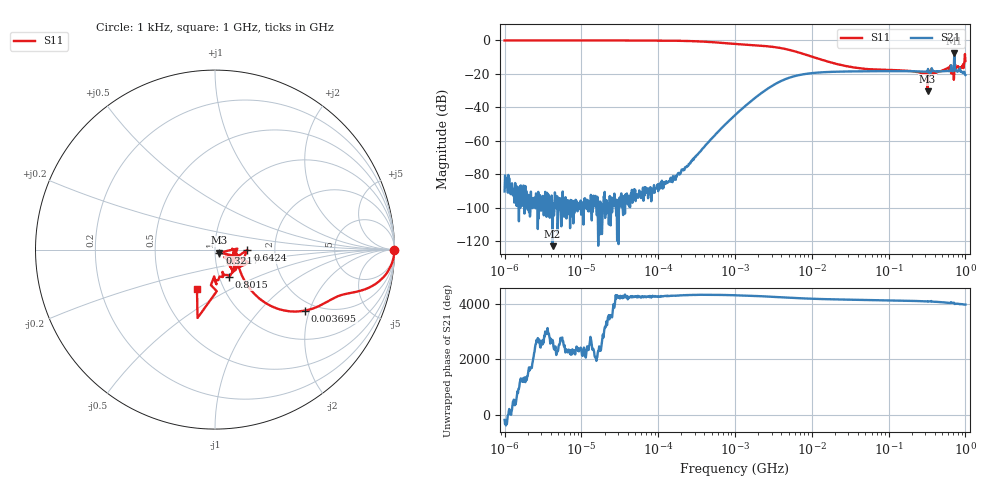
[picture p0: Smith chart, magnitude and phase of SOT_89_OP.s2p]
! ListType=Log
# MHZ S RI R 50
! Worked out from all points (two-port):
!   1000 points, 1 kHz to 1 GHz, reference 50 ohm
!   highest |S21| = -7.63 dB at 717.6 MHz (marker M1); lowest = -123.1 dB at 4.213 kHz (marker M2)
!   |S21| within 3 dB of the highest: 713.9 MHz to 721.2 MHz (7.289 MHz wide, 1.02 % of centre)
!   lowest |S11| = -30.4 dB at 321.7 MHz (marker M3), VSWR 1.06, Z = 52.5 - j1.81 ohm
!   |S11| at or under -10 dB: 10.54 MHz to 980.7 MHz (970.1 MHz wide, 196 % of centre); 992.5 MHz to end of sweep
!   S12 and S22 are empty: the file has one direction only
!   S11 on the Smith chart (normalised r, x): 1 kHz: open; 3.695 MHz: 1.74, -1.87; 321.7 MHz: 1.05, -0.04; 642.4 MHz: 1.44, -0.00; 801.5 MHz: 1.11, -0.35; 1 GHz: 0.75, -0.35
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0.001  0.9994 -5.66e-05  -3.03e-05 -8e-07  0 0  0 0
0.0042133  0.9993 -0.00274  -7e-07 0  0 0  0 0
0.0100694  0.9992 -0.00638  -1e-06 6.3e-06  0 0  0 0
0.1013925  0.9902 -0.0629  2.7e-05 -4.24e-05  0 0  0 0
0.1863246  0.9707 -0.1093  0.000103 -3.68e-05  0 0  0 0
1.006939  0.7478 -0.2428  0.00579 -0.00122  0 0  0 0
2.038493  0.6432 -0.2808  0.0171 -0.0157  0 0  0 0
3.694601  0.5029 -0.3396  0.011 -0.0551  0 0  0 0
5.831305  0.3503 -0.3299  -0.027 -0.08  0 0  0 0
10.13925  0.2161 -0.2433  -0.0781 -0.0712  0 0  0 0
32.39743  0.1309 -0.0932  -0.1171 -0.0183  0 0  0 0
100.6939  0.1207 -0.0516  -0.1177 0.0266  0 0  0 0
321.7418  0.0246 -0.0172  -0.063 0.1035  0 0  0 0
349.5776  0.1233 -0.0339  -0.0631 0.0856  0 0  0 0
401.4242  0.1014 -0.044  -0.0493 0.1088  0 0  0 0
599.4843  0.1123 -0.1042  0.0255 0.1181  0 0  0 0
642.4034  0.1807 -0.00135  0.0443 0.1188  0 0  0 0
669.616  0.0979 -0.1154  0.0356 0.1183  0 0  0 0
717.5561  0.1109 -0.0356  0.2723 0.314  0 0  0 0
801.5007  0.0787 -0.1519  0.0942 0.0789  0 0  0 0
895.2657  0.0251 -0.1502  0.102 0.053  0 0  0 0
1000  -0.1005 -0.2214  0.09 0.0203  0 0  0 0
